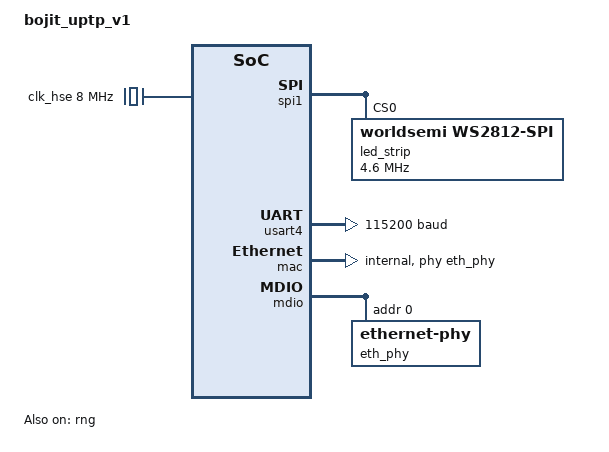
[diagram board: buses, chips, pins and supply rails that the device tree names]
/*
 * Copyright (c) 2025 James Bennion-Pedley
 * SPDX-License-Identifier: Apache-2.0
 */

/dts-v1/;

#include <wch/ch32v307/ch32v307wc.dtsi>
#include <zephyr/dt-bindings/gpio/gpio.h>
#include <zephyr/dt-bindings/led/led.h>
#include <zephyr/dt-bindings/input/input-event-codes.h>
#include "uptp_v1-pinctrl.dtsi"

/ {
	model = "bojit_uptp_v1";
	compatible = "bojit,uptp_v1";

	chosen {
		zephyr,sram = &sram0;
		zephyr,flash = &flash0;
		zephyr,console = &usart4;
		zephyr,shell-uart = &usart4;
	};

	soc {
		/* Temporary until PR #101688 merged */
		spi1:spi@40013000 {
			compatible = "wch,spi";
			reg = <0x40013000 0x24>;
			clocks = <&rcc CH32V20X_V30X_CLOCK_SPI1>;
			interrupt-parent = <&pfic>;
			interrupts = <51>;
			status = "disabled";
			#address-cells = <1>;
			#size-cells = <0>;
		};
	};
};

&clk_hse {
	clock-frequency = <DT_FREQ_M(8)>;
	status = "okay";
};

&pll {
	clocks = <&clk_hse>;
	status = "okay";
};

&rcc {
	clocks = <&pll>;
};


&gpioa {
	status = "okay";
};

&gpioc {
	status = "okay";
};

&usart4 {
	status = "okay";
	current-speed = <115200>;
	pinctrl-0 = <&usart4_default>;
	pinctrl-names = "default";
};

&spi1 {
	status = "okay";
	pinctrl-0 = <&spi1_default>;
	pinctrl-names = "default";

	led_strip: ws2812@0 {
		compatible = "worldsemi,ws2812-spi";
		status = "okay";
		reg = <0>;
		spi-cpha;
		spi-one-frame = <0xf0>;  /* 1100ns HIGH */
		spi-zero-frame = <0x80>; /* 460ns HIGH */
		spi-max-frequency = <4600000>;
		chain-length = <1>;
		color-mapping = <LED_COLOR_ID_GREEN LED_COLOR_ID_RED LED_COLOR_ID_BLUE>;
	};
};

&rng {
	status = "okay";
};

&mac {
	status = "okay";
	pinctrl-0 = <&mac_default>;
	pinctrl-names = "default";
	phy-connection-type = "internal";
	phy-handle = <&eth_phy>;
};

&mdio {
	status = "okay";
	pinctrl-0 = <&mdio_default>;
	pinctrl-names = "default";

	eth_phy: ethernet-phy@0 {
		compatible = "ethernet-phy";
		reg = <0x00>;
	};
};
